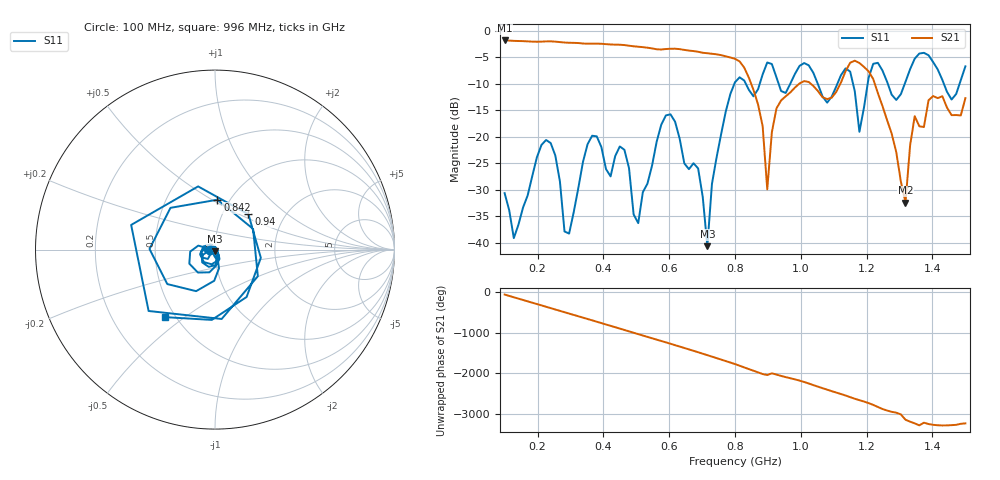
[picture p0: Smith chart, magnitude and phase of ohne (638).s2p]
! NanoVNA-App
! Date: 2025-09-25 14:25:46
! Start: 100MHz Stop: 1,5GHz Points: 101
! S-Parameter data: F S11 S21 S12 S22
# Hz S RI R 50
!  Frequency  S11_Real  S11_Imag  S21_Real  S21_Imag  S12_Real  S12_Imag  S22_Real  S22_Imag
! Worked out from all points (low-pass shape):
!   101 points, 100 MHz to 1.5 GHz, reference 50 ohm
!   highest |S21| = -1.79 dB at 100 MHz (marker M1); lowest = -32.4 dB at 1.318 GHz (marker M2)
!   |S21| within 3 dB of the highest: start of sweep to 771.7 MHz
!   lowest |S11| = -40.7 dB at 716 MHz (marker M3), VSWR 1.02, Z = 49.7 - j0.884 ohm
!   |S11| at or under -10 dB: start of sweep to 798 MHz; 833.1 MHz to 875.1 MHz (42.03 MHz wide, 4.92 % of centre); 1.052 GHz to 1.111 GHz (59.32 MHz wide, 5.49 % of centre) (the widest 3 of 7)
!   S12 and S22 are empty: the file has one direction only
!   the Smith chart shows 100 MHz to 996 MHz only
!   S11 on the Smith chart (normalised r, x): 100 MHz: 0.94, -0.01; 842 MHz: 0.88, +0.53; 940 MHz: 1.32, +0.56; 996 MHz: 0.44, -0.42
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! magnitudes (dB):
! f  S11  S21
! 100 MHz  -30.6  -1.8
! 128 MHz  -39.1  -1.9
! 226 MHz  -20.6  -2.0
! 296 MHz  -38.3  -2.2
! 338 MHz  -24.8  -2.4
! 464 MHz  -22.5  -2.7
! 506 MHz  -36.3  -3.0
! 576 MHz  -17.7  -3.5
! 688 MHz  -26.0  -3.9
! 716 MHz  -40.7  -4.2
! 800 MHz  -9.7  -5.3
! 842 MHz  -11.1  -8.8
! 898 MHz  -6.0  -29.9
! 940 MHz  -11.3  -13.1
! 996 MHz  -6.6  -9.9
! 1.038 GHz  -7.9  -10.4
! 1.178 GHz  -19.1  -6.1
! 1.22 GHz  -6.2  -9.1
! 1.276 GHz  -12.0  -19.4
! 1.318 GHz  -9.6  -32.4
! 1.346 GHz  -5.2  -16.1
! 1.5 GHz  -6.7  -12.7
